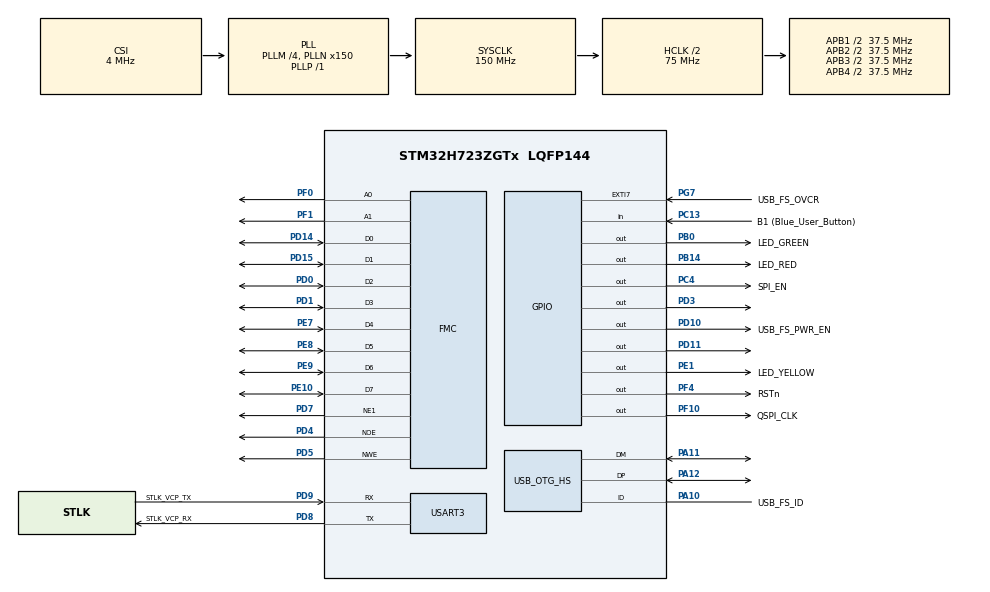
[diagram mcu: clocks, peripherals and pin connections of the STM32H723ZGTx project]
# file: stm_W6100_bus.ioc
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CORTEX_M7.AccessPermission-Cortex_Memory_Protection_Unit_Region0_Settings=MPU_REGION_FULL_ACCESS
CORTEX_M7.BaseAddress-Cortex_Memory_Protection_Unit_Region0_Settings=0x60000000
CORTEX_M7.CPU_DCache=Enabled
CORTEX_M7.CPU_ICache=Disabled
CORTEX_M7.Enable-Cortex_Memory_Protection_Unit_Region0_Settings=MPU_REGION_ENABLE
CORTEX_M7.Enable-Cortex_Memory_Protection_Unit_Region1_Settings=__NULL
CORTEX_M7.MPU_Control=MPU_HFNMI_PRIVDEF
CORTEX_M7.Size-Cortex_Memory_Protection_Unit_Region0_Settings=MPU_REGION_SIZE_64KB
FMC.AddressSetupTime1=2
FMC.BusTurnAroundDuration1=1
FMC.DataSetupTime1=1
FMC.ExtendedMode1=FMC_EXTENDED_MODE_DISABLE
FMC.WriteFifo1=FMC_WRITE_FIFO_ENABLE
FMC.WriteOperation1=FMC_WRITE_OPERATION_ENABLE
Mcu.Family=STM32H7
Mcu.Name=STM32H723ZGTx
Mcu.Package=LQFP144
NVIC.PriorityGroup=NVIC_PRIORITYGROUP_4
NVIC.USART3_IRQn=true\:0\:0\:false\:false\:true\:true\:true\:true
PA10.GPIO_Label=USB_FS_ID
PA10.Mode=OTG/Dual-Role-Device-FS
PA10.Signal=USB_OTG_HS_ID
PA11.Mode=OTG/Dual-Role-Device-FS
PA11.Signal=USB_OTG_HS_DM
PA12.Mode=OTG/Dual-Role-Device-FS
PA12.Signal=USB_OTG_HS_DP
PA13(JTMS/SWDIO).GPIO_Label=SWDIO
PA13(JTMS/SWDIO).Mode=Trace_Asynchronous_SW
PA13(JTMS/SWDIO).Signal=DEBUG_JTMS-SWDIO
PA14(JTCK/SWCLK).GPIO_Label=SWCLK
PA14(JTCK/SWCLK).Mode=Trace_Asynchronous_SW
PA14(JTCK/SWCLK).Signal=DEBUG_JTCK-SWCLK
PB0.GPIO_Label=LED_GREEN
PB0.Signal=GPIO_Output
PB14.GPIO_Label=LED_RED
PB14.Signal=GPIO_Output
PB3(JTDO/TRACESWO).GPIO_Label=SWO
PB3(JTDO/TRACESWO).Mode=Trace_Asynchronous_SW
PB3(JTDO/TRACESWO).Signal=DEBUG_JTDO-SWO
PC13.GPIO_Label=B1 (Blue_User_Button)
PC13.Signal=GPIO_Input
PC14-OSC32_IN.Mode=LSE-External-Oscillator
PC14-OSC32_IN.Signal=RCC_OSC32_IN
PC15-OSC32_OUT.Mode=LSE-External-Oscillator
PC15-OSC32_OUT.Signal=RCC_OSC32_OUT
PC4.GPIO_Label=SPI_EN
PC4.Signal=GPIO_Output
PD0.Signal=FMC_D2_DA2
PD1.Signal=FMC_D3_DA3
PD10.GPIO_Label=USB_FS_PWR_EN
PD10.Signal=GPIO_Output
PD11.Signal=GPIO_Output
PD14.Signal=FMC_D0_DA0
PD15.Signal=FMC_D1_DA1
PD3.Signal=GPIO_Output
PD4.Signal=FMC_NOE
PD5.Signal=FMC_NWE
PD7.Mode=NorPsramChipSelect1_1
PD7.Signal=FMC_NE1
PD8.GPIO_Label=STLK_VCP_RX
PD8.Mode=Asynchronous
PD8.Signal=USART3_TX
PD9.GPIO_Label=STLK_VCP_TX
PD9.Mode=Asynchronous
PD9.Signal=USART3_RX
PE1.GPIO_Label=LED_YELLOW
PE1.Signal=GPIO_Output
PE10.Signal=FMC_D7_DA7
PE7.Signal=FMC_D4_DA4
PE8.Signal=FMC_D5_DA5
PE9.Signal=FMC_D6_DA6
PF0.Signal=FMC_A0
PF1.Signal=FMC_A1
PF10.GPIO_Label=QSPI_CLK
PF10.Signal=GPIO_Output
PF4.GPIO_Label=RSTn
PF4.Signal=GPIO_Output
PG7.GPIO_Label=USB_FS_OVCR
PG7.Signal=GPXTI7
ProjectManager.HeapSize=0x200
ProjectManager.StackSize=0x400
ProjectManager.TargetToolchain=STM32CubeIDE
RCC.ADCFreq_Value=150000000
RCC.APB1Freq_Value=37500000
RCC.APB2Freq_Value=37500000
RCC.APB3Freq_Value=37500000
RCC.APB4Freq_Value=37500000
RCC.CortexFreq_Value=150000000
RCC.D1PPRE=RCC_APB3_DIV2
RCC.D2PPRE1=RCC_APB1_DIV2
RCC.D2PPRE2=RCC_APB2_DIV2
RCC.D3PPRE=RCC_APB4_DIV2
RCC.DIVM1=4
RCC.DIVM2=2
RCC.DIVN1=150
RCC.DIVN2=150
RCC.DIVP1=1
RCC.DIVQ1=30
RCC.DIVQ2=40
RCC.DIVR2=10
RCC.FMCCLockSelection=RCC_FMCCLKSOURCE_PLL2
RCC.HCLKFreq_Value=75000000
RCC.HPRE=RCC_HCLK_DIV2
RCC.HSE_VALUE=8000000
RCC.PLLSourceVirtual=RCC_PLLSOURCE_CSI
RCC.PREFETCH_ENABLE=1
RCC.SYSCLKFreq_VALUE=150000000
RCC.SYSCLKSource=RCC_SYSCLKSOURCE_PLLCLK
RCC.USART234578CLockSelection=RCC_USART234578CLKSOURCE_PLL2
RCC.USBCLockSelection=RCC_USBCLKSOURCE_HSI48
RCC.USBFreq_Value=48000000
SH.FMC_A0.0=FMC_A0,2b-a1
SH.FMC_A1.0=FMC_A1,2b-a1
SH.FMC_D0_DA0.0=FMC_D0,8b-d1
SH.FMC_D1_DA1.0=FMC_D1,8b-d1
SH.FMC_D2_DA2.0=FMC_D2,8b-d1
SH.FMC_D3_DA3.0=FMC_D3,8b-d1
SH.FMC_D4_DA4.0=FMC_D4,8b-d1
SH.FMC_D5_DA5.0=FMC_D5,8b-d1
SH.FMC_D6_DA6.0=FMC_D6,8b-d1
SH.FMC_D7_DA7.0=FMC_D7,8b-d1
SH.FMC_NOE.0=FMC_NOE,NorFlash1
SH.FMC_NWE.0=FMC_NWE,NorFlash1
USART3.VirtualMode-Asynchronous=VM_ASYNC
VP_DMA2D_VS_DMA2D.Mode=DMA2D_Activate
VP_RCC_USB.Mode=USB_HS
board=NUCLEO-H723ZG

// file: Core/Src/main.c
/* USER CODE BEGIN Header */
/**
  ******************************************************************************
  * @file           : main.c
  * @brief          : Main program body
  ******************************************************************************
  * @attention
  *
  * <h2><center>&copy; Copyright (c) 2021 STMicroelectronics.
  * All rights reserved.</center></h2>
  *
  * This software component is licensed by ST under BSD 3-Clause license,
  * the "License"; You may not use this file except in compliance with the
  * License. You may obtain a copy of the License at:
  *                        opensource.org/licenses/BSD-3-Clause
  *
  ******************************************************************************
  */
/* USER CODE END Header */
#include "main.h"

/* USER CODE BEGIN Includes */
#include "stdio.h"
#include "w6100.h"
#include "wizchip_conf.h"

/* USER CODE END Includes */

/* USER CODE BEGIN PTD */
#define True_STD //KEIL ,True_STD
#define DATA_BUF_SIZE 512
//#define BUS_DMA
/* USER CODE END PTD */

/* USER CODE BEGIN PM */
wiz_NetInfo gWIZNETINFO = { .mac = {0x00,0x08,0xdc,0x34,0x56,0x78},
							  .ip = {192,168,15,111},
							  .sn = {255, 255, 255, 0},
							  .gw = {192, 168, 15, 1},
							  .dns = {168, 126, 63, 1},
							  //.dhcp = NETINFO_STATIC,
							  .lla={0xfe,0x80,0x00,0x00,
									  0x00,0x00, 0x00,0x00,
									  0x02,0x08, 0xdc,0xff,
									  0xfe,0x57, 0x57,0x25},   ///< Source Link Local Address
							  .gua={0x00, 0x00, 0x00, 0x00,
									  0x00, 0x00, 0x00, 0x00,
									  0x00, 0x00, 0x00, 0x00,
									  0x00, 0x00, 0x00, 0x00},	 ///< Source Global Unicast Address
							  .sn6={0xff,0xff,0xff,0xff,
									  0xff,0xff,0xff,0xff,
									  0x00, 0x00, 0x00, 0x00,
									  0x00, 0x00, 0x00, 0x00 },   ///< IPv6 Prefix
							  .gw6={0x00, 0x00, 0x00, 0x00,
									  0x00, 0x00, 0x00, 0x00,
									  0x00, 0x00, 0x00, 0x00,
									  0x00, 0x00, 0x00, 0x00}	///< Gateway IPv6 Address
  };

  uint8_t WIZ_Dest_IP_virtual[4] = {192, 168, 0, 230};					//DST_IP Address
  uint8_t WIZ_Dest_IP_Google[4] = {216, 58, 200, 174};				//DST_IP Address

  uint8_t mcastipv4_0[4] ={239,1,2,3};
  uint8_t mcastipv4_1[4] ={239,1,2,4};
  uint8_t mcastipv4_2[4] ={239,1,2,5};
  uint8_t mcastipv4_3[4] ={239,1,2,6};

  uint16_t WIZ_Dest_PORT = 15000;								  //DST_IP port

#define ETH_MAX_BUF_SIZE	1024

  uint8_t  remote_ip[4] = {192,168,177,200};					  //
  uint16_t remote_port = 8080;

  unsigned char ethBuf0[ETH_MAX_BUF_SIZE];
  unsigned char ethBuf1[ETH_MAX_BUF_SIZE];
  unsigned char ethBuf2[ETH_MAX_BUF_SIZE];
  unsigned char ethBuf3[ETH_MAX_BUF_SIZE];
  unsigned char ethBuf4[ETH_MAX_BUF_SIZE];
  unsigned char ethBuf5[ETH_MAX_BUF_SIZE];
  unsigned char ethBuf6[ETH_MAX_BUF_SIZE];
  unsigned char ethBuf7[ETH_MAX_BUF_SIZE];

  uint8_t bLoopback = 1;
  uint8_t bRandomPacket = 0;
  uint8_t bAnyPacket = 0;
  uint16_t pack_size = 0;

  void print_network_information(void);

#define SRAM_BANK_ADDR  ((uint32_t)0x60000000)
#define BUFFER_SIZE         ((uint32_t)0x0002)
#define WRITE_READ_ADDR     ((uint32_t)0x0000)
uint32_t aTxBuffer[BUFFER_SIZE];
uint32_t aRxBuffer[BUFFER_SIZE];

static void Fill_Buffer(uint32_t *pBuffer, uint32_t uwBufferLength, uint16_t uwOffset)
{
  uint16_t tmpIndex = 0;

  /* Put in global buffer different values */
  for (tmpIndex = 0; tmpIndex < uwBufferLength; tmpIndex++)
  {
    pBuffer[tmpIndex] = tmpIndex + uwOffset;
  }
}

/* USER CODE END PM */

DMA2D_HandleTypeDef hdma2d;

UART_HandleTypeDef huart3;

NOR_HandleTypeDef hnor1;

/* USER CODE BEGIN PV */
uint8_t URX_BUF[DATA_BUF_SIZE];
unsigned int URX_BUF_cnt = 0;
unsigned int URX_BUF_Flag = 0;
uint8_t rxData;

/* USER CODE END PV */

void SystemClock_Config(void);
void PeriphCommonClock_Config(void);
static void MPU_Initialize(void);
static void MPU_Config(void);
static void MX_GPIO_Init(void);
static void MX_USART3_UART_Init(void);
static void MX_USB_OTG_HS_USB_Init(void);
static void MX_FMC_Init(void);
static void MX_DMA2D_Init(void);
/* USER CODE BEGIN PFP */
#ifdef KEIL
      #ifdef __GNUC__
      //With GCC, small printf (option LD Linker->Libraries->Small printf
      //set to 'Yes') calls __io_putchar()
         #define PUTCHAR_PROTOTYPE int __io_putchar(int ch)
	  #else
		 #define PUTCHAR_PROTOTYPE int fputc(int ch, FILE *f)
	  #endif /* __GNUC__*/
    #if 1
    PUTCHAR_PROTOTYPE
    {
      HAL_UART_Transmit(&huart3, (uint8_t *)&ch, 1, 0xFFFF);
      return ch;
    }
    #endif
  #endif

  #ifdef True_STD
  int _write(int fd, char *str, int len)
  {
    for(int i=0; i<len; i++)
    {
      HAL_UART_Transmit(&huart3, (uint8_t *)&str[i], 1, 0xFFFF);
    }
    return len;
  }
 #endif

/* USER CODE END PFP */

/* USER CODE BEGIN 0 */
void HAL_UART_RxCpltCallback(UART_HandleTypeDef *huart) {

	 /*
		 This will be called once data is received successfully,
		 via interrupts.
	 */

	  /*
		loop back received data
	  */
	  HAL_UART_Receive_IT(&huart3, &rxData, 1);
	  HAL_UART_Transmit(&huart3, &rxData, 1, 1000);
	  //massage input end enter key flag
	  URX_BUF[URX_BUF_cnt++] = rxData;
	  if((rxData == '\r') ||(URX_BUF_cnt > DATA_BUF_SIZE))
	  {
		URX_BUF_Flag = 1;
	  }
 }

void chip_delay(uint16_t count)
{
	uint16_t i = 0, dummy =0;
	for(i=0; i<count; i++)
	{
		dummy = i;
	}
}
uint16_t g_delay_count = 2;
void W6100BusWriteByte(uint32_t addr, iodata_t data)
{
	#if 1	//teddy 210422
	//(*(volatile uint8_t*)(addr)) = (uint8_t)(data);
	//__HAL_LOCK(&hnor1);
	(*(__IO uint8_t *)((uint32_t)(addr)) = (data));
	//chip_delay(g_delay_count);
	//__HAL_UNLOCK(&hnor1);
	#else
	iodata_t Indata[2]={0, 0};
	Indata[0] = data;
	//printf("W%x:%x ",addr, data);
	if(HAL_SRAM_Write_8b(&hsram1, (uint32_t *)addr, (uint16_t *)data, 1) != HAL_OK)
		printf("BusWritError \r\n");
	#endif
}

iodata_t W6100BusReadByte(uint32_t addr)
{
	#if 1	//teddy 210422
	//return (*((volatile uint8_t*)(addr)));
	iodata_t ret=0;
	//__HAL_LOCK(&hnor1);
	//ret = *(__IO uint8_t *)((uint32_t)(addr));
	ret = *(__IO uint8_t *)(addr);
	//chip_delay(g_delay_count);
	//__HAL_UNLOCK(&hnor1);
	return ret;
	#else
	iodata_t result[2] = {0,0};
	if(HAL_SRAM_Read_8b(&hsram1, (uint32_t *)addr, (uint16_t *)result, 1) != HAL_OK)
		printf("BussReadError \r\n");
	printf("R%x:%x ", addr, result[0]);
	return result[0];
	#endif
}

void W6100BusWriteBurst(uint32_t addr, uint8_t* pBuf ,uint32_t len,uint8_t addr_inc)
{
#ifdef USE_STDPERIPH_DRIVER

	if(addr_inc){
	 	DMA_TX_InitStructure.DMA_MemoryInc  = DMA_MemoryInc_Enable;

	}
	else 	DMA_TX_InitStructure.DMA_MemoryInc  = DMA_MemoryInc_Disable;

	DMA_TX_InitStructure.DMA_BufferSize = len;
	DMA_TX_InitStructure.DMA_MemoryBaseAddr = addr;
	DMA_TX_InitStructure.DMA_PeripheralBaseAddr = pBuf;

	DMA_Init(W6100_DMA_CHANNEL_TX, &DMA_TX_InitStructure);

	DMA_Cmd(W6100_DMA_CHANNEL_TX, ENABLE);

	/* Enable SPI Rx/Tx DMA Request*/

	/* Waiting for the end of Data Transfer */
	while(DMA_GetFlagStatus(DMA_TX_FLAG) == RESET);

	DMA_ClearFlag(DMA_TX_FLAG);

	DMA_Cmd(W6100_DMA_CHANNEL_TX, DISABLE);

#elif defined USE_HAL_DRIVER

#endif
#if 0
	if(HAL_SRAM_Write_8b(&hsram1, (uint32_t *)addr, pBuf, len) != HAL_OK)
		printf("BusWritError \r\n");
#endif

}

void W6100BusReadBurst(uint32_t addr,uint8_t* pBuf, uint32_t len,uint8_t addr_inc)
{
#ifdef USE_STDPERIPH_DRIVER

	DMA_RX_InitStructure.DMA_BufferSize = len;
	DMA_RX_InitStructure.DMA_MemoryBaseAddr =pBuf;
	DMA_RX_InitStructure.DMA_PeripheralBaseAddr =addr;

	DMA_Init(W6100_DMA_CHANNEL_RX, &DMA_RX_InitStructure);

	DMA_Cmd(W6100_DMA_CHANNEL_RX, ENABLE);
	/* Waiting for the end of Data Transfer */
	while(DMA_GetFlagStatus(DMA_RX_FLAG) == RESET);

	DMA_ClearFlag(DMA_RX_FLAG);

	DMA_Cmd(W6100_DMA_CHANNEL_RX, DISABLE);

#elif defined USE_HAL_DRIVER

#endif
#if 0
	if(HAL_SRAM_Read_8b(&hsram1, (uint32_t *)addr, pBuf, len) != HAL_OK)
			printf("BussReadError \r\n");
#endif

}
void W6100CsEnable(void)
{
	__HAL_LOCK(&hnor1);
#if 0
	__HAL_LOCK(&hsram1);
	hsram1.State = HAL_SRAM_STATE_BUSY;
#endif
}

void W6100CsDisable(void)
{
	__HAL_UNLOCK(&hnor1);
#if 0
	__HAL_UNLOCK(&hsram1);
	hsram1.State = HAL_SRAM_STATE_READY;
#endif
}

void W6100Initialze(void)
{
		//W6100Reset();

#if _WIZCHIP_IO_MODE_ & _WIZCHIP_IO_MODE_SPI_
	/* SPI method callback registration */
	#if defined SPI_DMA
		reg_wizchip_spi_cbfunc(W6100SpiReadByte, W6100SpiWriteByte, W6100SpiReadBurst, W6100SpiWriteBurst);
	#else
		reg_wizchip_spi_cbfunc(W6100SpiReadByte, W6100SpiWriteByte, 0, 0);
	#endif
		/* CS function register */
		reg_wizchip_cs_cbfunc(W6100CsEnable, W6100CsDisable);
#else
	/* Indirect bus method callback registration */
	#if defined BUS_DMA
		reg_wizchip_bus_cbfunc(W6100BusReadByte, W6100BusWriteByte, W6100BusReadBurst, W6100BusWriteBurst);
	#else
		reg_wizchip_bus_cbfunc(W6100BusReadByte, W6100BusWriteByte, 0, 0);
	#endif
		reg_wizchip_cs_cbfunc(W6100CsEnable, W6100CsDisable);
#endif
		uint8_t temp;
		unsigned char W6100_AdrSet[2][8] = {{2, 2, 2, 2, 2, 2, 2, 2}, {2, 2, 2, 2, 2, 2, 2, 2}};
		uint16_t RegTemp = 0;
		//RegTemp = (uint16_t)WIZCHIP_READ(_CIDR_);
		//printf("CIDR_ = %04x \r\n", RegTemp);
		RegTemp = getCIDR();
		printf("CIDR = %04x \r\n", RegTemp);
		RegTemp = getVER();
		printf("VER = %04x \r\n", RegTemp);

		#if 0 //teddy st
		do
		{
			if (ctlwizchip(CW_GET_PHYLINK, (void *)&temp) == -1)
			{
				printf("Unknown PHY link status.\r\n");
			}
		} while (temp == PHY_LINK_OFF);
	 	#endif

		printf("PHY OK.\r\n");

}
void bus_tx_mem_test(uint8_t sn)
{
	uint16_t i=0, temp_count = 1;
	uint8_t temp_rx_data[1024], temp_tx_data[1024];
	uint16_t data_len =1024;
	for(i=0; i<data_len; i++)
	  {
		  temp_tx_data[i] = '0'+(uint8_t)(i%10);
	  }
	  temp_tx_data[data_len] = 0;
	  printf("socket = %d \r\nbus tx data[%d] = %s\r\n", sn, data_len, temp_tx_data);
	  *(__IO uint8_t *)((uint32_t)(0x60000000)) = (uint8_t)(0x00);
		//chip_delay(temp_count);
		*(__IO uint8_t *)((uint32_t)(0x60000001)) = (uint8_t)(0x00);
		//chip_delay(temp_count);
		*(__IO uint8_t *)((uint32_t)(0x60000002)) = (uint8_t)((0x10)|(sn<<5));
		//chip_delay(temp_count);
		for(i=0; i<data_len; i++)
		{
			*(__IO uint8_t *)((uint32_t)(0x60000003)) = (uint8_t)(temp_tx_data[i]);
			//chip_delay(temp_count);
		}
		printf("bus read tx data \r\n");
		*(__IO uint8_t *)((uint32_t)(0x60000000)) = (uint8_t)(0x00);
		//chip_delay(temp_count);
		*(__IO uint8_t *)((uint32_t)(0x60000001)) = (uint8_t)(0x00);
		//chip_delay(temp_count);
		*(__IO uint8_t *)((uint32_t)(0x60000002)) = (uint8_t)((0x10)|(sn<<5));
		//chip_delay(temp_count);
		for(i=0; i<data_len; i++)
		{
			temp_rx_data[i] = *(__IO uint8_t *)((uint32_t)(0x60000003));
			//chip_delay(temp_count);
		}
		temp_rx_data[data_len] = 0;
		printf("bus tx mem read data[%d] = %s\r\n", data_len, temp_rx_data);
}

/* USER CODE END 0 */

int main(void)
{
  /* USER CODE BEGIN 1 */
  uint8_t temp1 = 0, temp2 = 0, *temp=NULL;
  uint8_t temp_data[4]={0,};
  //temp = (volatile uint8_t*)(0x60000003);
  uint8_t syslock = SYS_NET_LOCK;
  uint16_t temp_dummy=0;
  uint8_t temp_status[10]={0,};
  uint16_t temp_count = 1000;

  /* USER CODE END 1 */

  /* Enable D-Cache---------------------------------------------------------*/
  SCB_EnableDCache();

  /* MCU Configuration--------------------------------------------------------*/

  /* Reset of all peripherals, Initializes the Flash interface and the Systick. */
  HAL_Init();

  /* MPU Configuration--------------------------------------------------------*/
  MPU_Config();

  /* USER CODE BEGIN Init */
  hnor1.CommandSet = (uint16_t)0x0001;
  /* USER CODE END Init */

  /* Configure the system clock */
  SystemClock_Config();

/* Configure the peripherals common clocks */
  PeriphCommonClock_Config();

  /* Initialize all configured peripherals */
  MX_GPIO_Init();
  MX_USART3_UART_Init();
  MX_USB_OTG_HS_USB_Init();
  MX_FMC_Init();
  MX_DMA2D_Init();
  /* USER CODE BEGIN 2 */
  HAL_GPIO_WritePin(GPIOD, GPIO_PIN_11|GPIO_PIN_3, GPIO_PIN_SET);
  HAL_Delay(100);
  HAL_GPIO_WritePin(GPIOD, GPIO_PIN_11, GPIO_PIN_RESET);
  HAL_GPIO_WritePin(RSTn_GPIO_Port, RSTn_Pin, GPIO_PIN_RESET);
  HAL_Delay(500);
  HAL_GPIO_WritePin(GPIOD, GPIO_PIN_11, GPIO_PIN_SET);
  HAL_GPIO_WritePin(RSTn_GPIO_Port, RSTn_Pin, GPIO_PIN_SET);
  HAL_Delay(500);
  HAL_GPIO_WritePin(SPI_EN_GPIO_Port, SPI_EN_Pin, GPIO_PIN_SET);
  HAL_GPIO_WritePin(QSPI_CLK_GPIO_Port, QSPI_CLK_Pin, GPIO_PIN_SET);
  HAL_Delay(500);

printf("Hello Start!!\r\n");
  Fill_Buffer(aTxBuffer, BUFFER_SIZE, 0x0000);
  //HAL_SRAM_Write_16b(&hsram1, (uint32_t *)(SRAM_BANK_ADDR + WRITE_READ_ADDR), (uint16_t *)aTxBuffer, BUFFER_SIZE*2);
  //HAL_SRAM_Write_8b(&hsram1, (uint32_t *)(SRAM_BANK_ADDR + WRITE_READ_ADDR), (uint8_t *)aTxBuffer, BUFFER_SIZE);
  printf("Hello Start!!\r\n");
#if 0
  //(*(volatile uint8_t*)(0x60000000)) = (uint8_t)(0x00);
  (*(volatile uint8_t*)(0x60000001)) = (uint8_t)(0x02);
  //(*(volatile uint8_t*)(0x60000002)) = (uint8_t)(0x00);
  temp1 = (*(volatile uint8_t*)(0x60000003));

  //(*(volatile uint8_t*)(0x60000000)) = (uint8_t)(0x00);
  (*(volatile uint8_t*)(0x60000001)) = (uint8_t)(0x03);
  //(*(volatile uint8_t*)(0x60000002)) = (uint8_t)(0x00);
  temp2 = (*(volatile uint8_t*)(0x60000003));
#endif
  //(*(volatile uint8_t*)(0x60000000)) = 0x00;

  //__HAL_LOCK(&hsram1);
	//  hsram1.State = HAL_SRAM_STATE_BUSY;

	//(*(volatile uint32_t*)(0x60000000)) = (0x00<<16)|(0x02<<8)|(0x00);
  	 //__HAL_LOCK(&hnor1);
  //temp_data[0] = (uint8_t)(*(__IO uint8_t *)(0x60000000));
  //*(__IO uint8_t *)((uint32_t)(0x60000000)) = (uint8_t)(0x00);
  temp_count = 2;
  *(__IO uint8_t *)((uint32_t)(0x60000000)) = (uint8_t)(0x00);
  //chip_delay(temp_count);
  *(__IO uint8_t *)((uint32_t)(0x60000001)) = (uint8_t)(0x00);
  //chip_delay(temp_count);
  *(__IO uint8_t *)((uint32_t)(0x60000002)) = (uint8_t)(0x00);
  //chip_delay(temp_count);

  temp_data[0] = (uint8_t)(*(__IO uint8_t *)(0x60000003));
  //chip_delay(temp_count);
  temp_data[1] = (uint8_t)(*(__IO uint8_t *)(0x60000003));
  //chip_delay(temp_count);
  temp_data[2] = (uint8_t)(*(__IO uint8_t *)(0x60000003));
  //chip_delay(temp_count);
  temp_data[3] = (uint8_t)(*(__IO uint8_t *)(0x60000003));
  printf("CIDR VER = 0x%02x %02x %02x %02x\r\n", temp_data[0], temp_data[1], temp_data[2], temp_data[3]);

  	chip_delay(temp_count);
  	chip_delay(temp_count);
	(*(volatile uint8_t*)(0x60000000)) = (uint8_t)(0x00);
	//chip_delay(temp_count);
    (*(volatile uint8_t*)(0x60000001)) = (uint8_t)(0x02);
    //chip_delay(temp_count);
    (*(volatile uint8_t*)(0x60000002)) = (uint8_t)(0x00);
    //chip_delay(temp_count);
    temp1 = (*(volatile uint8_t*)(0x60000003));
    //chip_delay(temp_count);
    (*(volatile uint8_t*)(0x60000000)) = (uint8_t)(0x00);
    //chip_delay(temp_count);
    (*(volatile uint8_t*)(0x60000001)) = (uint8_t)(0x03);
    //chip_delay(temp_count);
    (*(volatile uint8_t*)(0x60000002)) = (uint8_t)(0x00);
    //chip_delay(temp_count);
    temp2 = (*(volatile uint8_t*)(0x60000003));
    //chip_delay(temp_count);
  printf("bin VER = 0x%02x %02x \r\n", temp1, temp2);

  //tx memory W/R
  bus_tx_mem_test(0);

  W6100Initialze();
#if 0
  (*(volatile uint8_t*)(0x60000000)) = (uint8_t)(0x41);
  (*(volatile uint8_t*)(0x60000001)) = (uint8_t)(0x20);
  (*(volatile uint8_t*)(0x60000002)) = (uint8_t)(0x00);
  (*(volatile uint8_t*)(0x60000003)) = (uint8_t)(0x00);
  (*(volatile uint8_t*)(0x60000003)) = (uint8_t)(0x08);
  (*(volatile uint8_t*)(0x60000003)) = (uint8_t)(0xdc);
  (*(volatile uint8_t*)(0x60000003)) = (uint8_t)(0xff);
  (*(volatile uint8_t*)(0x60000003)) = (uint8_t)(0xff);
  (*(volatile uint8_t*)(0x60000003)) = (uint8_t)(0xff);
  setSHAR(gWIZNETINFO.mac);
#endif
  ctlwizchip(CW_SYS_UNLOCK,& syslock);
  ctlnetwork(CN_SET_NETINFO,&gWIZNETINFO);
  printf("Register value after W6100 initialize!\r\n");
  print_network_information();
  /* USER CODE END 2 */

  /* Infinite loop */
  while (1)
  {

    /* USER CODE BEGIN 3 */
	  loopback_tcps(0,ethBuf3,50003,AS_IPV4);
  }
  /* USER CODE END 3 */
}

void SystemClock_Config(void)
{
  RCC_OscInitTypeDef RCC_OscInitStruct = {0};
  RCC_ClkInitTypeDef RCC_ClkInitStruct = {0};
  RCC_CRSInitTypeDef RCC_CRSInitStruct = {0};

  /** Supply configuration update enable
  */
  HAL_PWREx_ConfigSupply(PWR_LDO_SUPPLY);

  /** Configure the main internal regulator output voltage
  */
  __HAL_PWR_VOLTAGESCALING_CONFIG(PWR_REGULATOR_VOLTAGE_SCALE3);

  while(!__HAL_PWR_GET_FLAG(PWR_FLAG_VOSRDY)) {}

  /** Initializes the RCC Oscillators according to the specified parameters
  * in the RCC_OscInitTypeDef structure.
  */
  RCC_OscInitStruct.OscillatorType = RCC_OSCILLATORTYPE_HSI48|RCC_OSCILLATORTYPE_CSI;
  RCC_OscInitStruct.HSI48State = RCC_HSI48_ON;
  RCC_OscInitStruct.CSIState = RCC_CSI_ON;
  RCC_OscInitStruct.CSICalibrationValue = 16;
  RCC_OscInitStruct.PLL.PLLState = RCC_PLL_ON;
  RCC_OscInitStruct.PLL.PLLSource = RCC_PLLSOURCE_CSI;
  RCC_OscInitStruct.PLL.PLLM = 4;
  RCC_OscInitStruct.PLL.PLLN = 150;
  RCC_OscInitStruct.PLL.PLLP = 1;
  RCC_OscInitStruct.PLL.PLLQ = 30;
  RCC_OscInitStruct.PLL.PLLR = 2;
  RCC_OscInitStruct.PLL.PLLRGE = RCC_PLL1VCIRANGE_0;
  RCC_OscInitStruct.PLL.PLLVCOSEL = RCC_PLL1VCOMEDIUM;
  RCC_OscInitStruct.PLL.PLLFRACN = 0;
  if (HAL_RCC_OscConfig(&RCC_OscInitStruct) != HAL_OK)
  {
    Error_Handler();
  }

  /** Initializes the CPU, AHB and APB buses clocks
  */
  RCC_ClkInitStruct.ClockType = RCC_CLOCKTYPE_HCLK|RCC_CLOCKTYPE_SYSCLK
                              |RCC_CLOCKTYPE_PCLK1|RCC_CLOCKTYPE_PCLK2
                              |RCC_CLOCKTYPE_D3PCLK1|RCC_CLOCKTYPE_D1PCLK1;
  RCC_ClkInitStruct.SYSCLKSource = RCC_SYSCLKSOURCE_PLLCLK;
  RCC_ClkInitStruct.SYSCLKDivider = RCC_SYSCLK_DIV1;
  RCC_ClkInitStruct.AHBCLKDivider = RCC_HCLK_DIV2;
  RCC_ClkInitStruct.APB3CLKDivider = RCC_APB3_DIV2;
  RCC_ClkInitStruct.APB1CLKDivider = RCC_APB1_DIV2;
  RCC_ClkInitStruct.APB2CLKDivider = RCC_APB2_DIV2;
  RCC_ClkInitStruct.APB4CLKDivider = RCC_APB4_DIV2;

  if (HAL_RCC_ClockConfig(&RCC_ClkInitStruct, FLASH_LATENCY_2) != HAL_OK)
  {
    Error_Handler();
  }

  /** Enable the SYSCFG APB clock
  */
  __HAL_RCC_CRS_CLK_ENABLE();

  /** Configures CRS
  */
  RCC_CRSInitStruct.Prescaler = RCC_CRS_SYNC_DIV1;
  RCC_CRSInitStruct.Source = RCC_CRS_SYNC_SOURCE_USB2;
  RCC_CRSInitStruct.Polarity = RCC_CRS_SYNC_POLARITY_RISING;
  RCC_CRSInitStruct.ReloadValue = __HAL_RCC_CRS_RELOADVALUE_CALCULATE(48000000,1000);
  RCC_CRSInitStruct.ErrorLimitValue = 34;
  RCC_CRSInitStruct.HSI48CalibrationValue = 32;

  HAL_RCCEx_CRSConfig(&RCC_CRSInitStruct);
}

void PeriphCommonClock_Config(void)
{
  RCC_PeriphCLKInitTypeDef PeriphClkInitStruct = {0};

  /** Initializes the peripherals clock
  */
  PeriphClkInitStruct.PeriphClockSelection = RCC_PERIPHCLK_FMC|RCC_PERIPHCLK_USART3;
  PeriphClkInitStruct.PLL2.PLL2M = 2;
  PeriphClkInitStruct.PLL2.PLL2N = 150;
  PeriphClkInitStruct.PLL2.PLL2P = 2;
  PeriphClkInitStruct.PLL2.PLL2Q = 40;
  PeriphClkInitStruct.PLL2.PLL2R = 10;
  PeriphClkInitStruct.PLL2.PLL2RGE = RCC_PLL2VCIRANGE_1;
  PeriphClkInitStruct.PLL2.PLL2VCOSEL = RCC_PLL2VCOWIDE;
  PeriphClkInitStruct.PLL2.PLL2FRACN = 0;
  PeriphClkInitStruct.FmcClockSelection = RCC_FMCCLKSOURCE_PLL2;
  PeriphClkInitStruct.Usart234578ClockSelection = RCC_USART234578CLKSOURCE_PLL2;
  if (HAL_RCCEx_PeriphCLKConfig(&PeriphClkInitStruct) != HAL_OK)
  {
    Error_Handler();
  }
}

static void MX_DMA2D_Init(void)
{

  hdma2d.Instance = DMA2D;
  hdma2d.Init.Mode = DMA2D_M2M;
  hdma2d.Init.ColorMode = DMA2D_OUTPUT_ARGB8888;
  hdma2d.Init.OutputOffset = 0;
  hdma2d.LayerCfg[1].InputOffset = 0;
  hdma2d.LayerCfg[1].InputColorMode = DMA2D_INPUT_ARGB8888;
  hdma2d.LayerCfg[1].AlphaMode = DMA2D_NO_MODIF_ALPHA;
  hdma2d.LayerCfg[1].InputAlpha = 0;
  hdma2d.LayerCfg[1].AlphaInverted = DMA2D_REGULAR_ALPHA;
  hdma2d.LayerCfg[1].RedBlueSwap = DMA2D_RB_REGULAR;
  hdma2d.LayerCfg[1].ChromaSubSampling = DMA2D_NO_CSS;
  if (HAL_DMA2D_Init(&hdma2d) != HAL_OK)
  {
    Error_Handler();
  }
  if (HAL_DMA2D_ConfigLayer(&hdma2d, 1) != HAL_OK)
  {
    Error_Handler();
  }

}

static void MX_USART3_UART_Init(void)
{

  huart3.Instance = USART3;
  huart3.Init.BaudRate = 115200;
  huart3.Init.WordLength = UART_WORDLENGTH_8B;
  huart3.Init.StopBits = UART_STOPBITS_1;
  huart3.Init.Parity = UART_PARITY_NONE;
  huart3.Init.Mode = UART_MODE_TX_RX;
  huart3.Init.HwFlowCtl = UART_HWCONTROL_NONE;
  huart3.Init.OverSampling = UART_OVERSAMPLING_16;
  huart3.Init.OneBitSampling = UART_ONE_BIT_SAMPLE_DISABLE;
  huart3.Init.ClockPrescaler = UART_PRESCALER_DIV1;
  huart3.AdvancedInit.AdvFeatureInit = UART_ADVFEATURE_NO_INIT;
  if (HAL_UART_Init(&huart3) != HAL_OK)
  {
    Error_Handler();
  }
  if (HAL_UARTEx_SetTxFifoThreshold(&huart3, UART_TXFIFO_THRESHOLD_1_8) != HAL_OK)
  {
    Error_Handler();
  }
  if (HAL_UARTEx_SetRxFifoThreshold(&huart3, UART_RXFIFO_THRESHOLD_1_8) != HAL_OK)
  {
    Error_Handler();
  }
  if (HAL_UARTEx_DisableFifoMode(&huart3) != HAL_OK)
  {
    Error_Handler();
  }

}

static void MX_USB_OTG_HS_USB_Init(void)
{

}

/* FMC initialization function */
static void MX_FMC_Init(void)
{

  FMC_NORSRAM_TimingTypeDef Timing = {0};

  /* USER CODE BEGIN FMC_Init 1 */
  hnor1.CommandSet = (uint16_t)0x0001;
  /* USER CODE END FMC_Init 1 */

  /** Perform the NOR1 memory initialization sequence
  */
  hnor1.Instance = FMC_NORSRAM_DEVICE;
  hnor1.Extended = FMC_NORSRAM_EXTENDED_DEVICE;
  /* hnor1.Init */
  hnor1.Init.NSBank = FMC_NORSRAM_BANK1;
  hnor1.Init.DataAddressMux = FMC_DATA_ADDRESS_MUX_DISABLE;
  hnor1.Init.MemoryType = FMC_MEMORY_TYPE_NOR;
  hnor1.Init.MemoryDataWidth = FMC_NORSRAM_MEM_BUS_WIDTH_8;
  hnor1.Init.BurstAccessMode = FMC_BURST_ACCESS_MODE_DISABLE;
  hnor1.Init.WaitSignalPolarity = FMC_WAIT_SIGNAL_POLARITY_LOW;
  hnor1.Init.WaitSignalActive = FMC_WAIT_TIMING_BEFORE_WS;
  hnor1.Init.WriteOperation = FMC_WRITE_OPERATION_ENABLE;
  hnor1.Init.WaitSignal = FMC_WAIT_SIGNAL_DISABLE;
  hnor1.Init.ExtendedMode = FMC_EXTENDED_MODE_DISABLE;
  hnor1.Init.AsynchronousWait = FMC_ASYNCHRONOUS_WAIT_DISABLE;
  hnor1.Init.WriteBurst = FMC_WRITE_BURST_DISABLE;
  hnor1.Init.ContinuousClock = FMC_CONTINUOUS_CLOCK_SYNC_ONLY;
  hnor1.Init.WriteFifo = FMC_WRITE_FIFO_ENABLE;
  hnor1.Init.PageSize = FMC_PAGE_SIZE_NONE;
  /* Timing */
  Timing.AddressSetupTime = 1;
  Timing.AddressHoldTime = 15;
  Timing.DataSetupTime = 1;
  Timing.BusTurnAroundDuration = 1;
  Timing.CLKDivision = 16;
  Timing.DataLatency = 17;
  Timing.AccessMode = FMC_ACCESS_MODE_A;
  /* ExtTiming */

  if (HAL_NOR_Init(&hnor1, &Timing, NULL) != HAL_OK)
  {
    Error_Handler( );
  }

}

static void MX_GPIO_Init(void)
{
  GPIO_InitTypeDef GPIO_InitStruct = {0};

  /* GPIO Ports Clock Enable */
  __HAL_RCC_GPIOC_CLK_ENABLE();
  __HAL_RCC_GPIOF_CLK_ENABLE();
  __HAL_RCC_GPIOB_CLK_ENABLE();
  __HAL_RCC_GPIOE_CLK_ENABLE();
  __HAL_RCC_GPIOD_CLK_ENABLE();
  __HAL_RCC_GPIOG_CLK_ENABLE();
  __HAL_RCC_GPIOA_CLK_ENABLE();

  /*Configure GPIO pin Output Level */
  HAL_GPIO_WritePin(GPIOF, RSTn_Pin|QSPI_CLK_Pin, GPIO_PIN_RESET);

  /*Configure GPIO pin Output Level */
  HAL_GPIO_WritePin(SPI_EN_GPIO_Port, SPI_EN_Pin, GPIO_PIN_RESET);

  /*Configure GPIO pin Output Level */
  HAL_GPIO_WritePin(GPIOB, LED_GREEN_Pin|LED_RED_Pin, GPIO_PIN_RESET);

  /*Configure GPIO pin Output Level */
  HAL_GPIO_WritePin(GPIOD, USB_FS_PWR_EN_Pin|GPIO_PIN_11|GPIO_PIN_3, GPIO_PIN_RESET);

  /*Configure GPIO pin Output Level */
  HAL_GPIO_WritePin(LED_YELLOW_GPIO_Port, LED_YELLOW_Pin, GPIO_PIN_RESET);

  /*Configure GPIO pin : B1_Pin */
  GPIO_InitStruct.Pin = B1_Pin;
  GPIO_InitStruct.Mode = GPIO_MODE_INPUT;
  GPIO_InitStruct.Pull = GPIO_NOPULL;
  HAL_GPIO_Init(B1_GPIO_Port, &GPIO_InitStruct);

  /*Configure GPIO pins : RSTn_Pin QSPI_CLK_Pin */
  GPIO_InitStruct.Pin = RSTn_Pin|QSPI_CLK_Pin;
  GPIO_InitStruct.Mode = GPIO_MODE_OUTPUT_PP;
  GPIO_InitStruct.Pull = GPIO_NOPULL;
  GPIO_InitStruct.Speed = GPIO_SPEED_FREQ_LOW;
  HAL_GPIO_Init(GPIOF, &GPIO_InitStruct);

  /*Configure GPIO pin : SPI_EN_Pin */
  GPIO_InitStruct.Pin = SPI_EN_Pin;
  GPIO_InitStruct.Mode = GPIO_MODE_OUTPUT_PP;
  GPIO_InitStruct.Pull = GPIO_NOPULL;
  GPIO_InitStruct.Speed = GPIO_SPEED_FREQ_LOW;
  HAL_GPIO_Init(SPI_EN_GPIO_Port, &GPIO_InitStruct);

  /*Configure GPIO pins : LED_GREEN_Pin LED_RED_Pin */
  GPIO_InitStruct.Pin = LED_GREEN_Pin|LED_RED_Pin;
  GPIO_InitStruct.Mode = GPIO_MODE_OUTPUT_PP;
  GPIO_InitStruct.Pull = GPIO_NOPULL;
  GPIO_InitStruct.Speed = GPIO_SPEED_FREQ_LOW;
  HAL_GPIO_Init(GPIOB, &GPIO_InitStruct);

  /*Configure GPIO pins : USB_FS_PWR_EN_Pin PD11 PD3 */
  GPIO_InitStruct.Pin = USB_FS_PWR_EN_Pin|GPIO_PIN_11|GPIO_PIN_3;
  GPIO_InitStruct.Mode = GPIO_MODE_OUTPUT_PP;
  GPIO_InitStruct.Pull = GPIO_NOPULL;
  GPIO_InitStruct.Speed = GPIO_SPEED_FREQ_LOW;
  HAL_GPIO_Init(GPIOD, &GPIO_InitStruct);

  /*Configure GPIO pin : USB_FS_OVCR_Pin */
  GPIO_InitStruct.Pin = USB_FS_OVCR_Pin;
  GPIO_InitStruct.Mode = GPIO_MODE_IT_RISING;
  GPIO_InitStruct.Pull = GPIO_NOPULL;
  HAL_GPIO_Init(USB_FS_OVCR_GPIO_Port, &GPIO_InitStruct);

  /*Configure GPIO pin : USB_FS_ID_Pin */
  GPIO_InitStruct.Pin = USB_FS_ID_Pin;
  GPIO_InitStruct.Mode = GPIO_MODE_AF_PP;
  GPIO_InitStruct.Pull = GPIO_NOPULL;
  GPIO_InitStruct.Speed = GPIO_SPEED_FREQ_LOW;
  GPIO_InitStruct.Alternate = GPIO_AF10_OTG1_HS;
  HAL_GPIO_Init(USB_FS_ID_GPIO_Port, &GPIO_InitStruct);

  /*Configure GPIO pin : LED_YELLOW_Pin */
  GPIO_InitStruct.Pin = LED_YELLOW_Pin;
  GPIO_InitStruct.Mode = GPIO_MODE_OUTPUT_PP;
  GPIO_InitStruct.Pull = GPIO_NOPULL;
  GPIO_InitStruct.Speed = GPIO_SPEED_FREQ_LOW;
  HAL_GPIO_Init(LED_YELLOW_GPIO_Port, &GPIO_InitStruct);

}

/* USER CODE BEGIN 4 */
void print_network_information(void)
{
	wizchip_getnetinfo(&gWIZNETINFO);

	printf("Mac address: %02x:%02x:%02x:%02x:%02x:%02x\n\r",gWIZNETINFO.mac[0],gWIZNETINFO.mac[1],gWIZNETINFO.mac[2],gWIZNETINFO.mac[3],gWIZNETINFO.mac[4],gWIZNETINFO.mac[5]);
	printf("IP address : %d.%d.%d.%d\n\r",gWIZNETINFO.ip[0],gWIZNETINFO.ip[1],gWIZNETINFO.ip[2],gWIZNETINFO.ip[3]);
	printf("SM Mask    : %d.%d.%d.%d\n\r",gWIZNETINFO.sn[0],gWIZNETINFO.sn[1],gWIZNETINFO.sn[2],gWIZNETINFO.sn[3]);
	printf("Gate way   : %d.%d.%d.%d\n\r",gWIZNETINFO.gw[0],gWIZNETINFO.gw[1],gWIZNETINFO.gw[2],gWIZNETINFO.gw[3]);
	printf("DNS Server : %d.%d.%d.%d\n\r",gWIZNETINFO.dns[0],gWIZNETINFO.dns[1],gWIZNETINFO.dns[2],gWIZNETINFO.dns[3]);

	print_ipv6_addr("GW6 ", gWIZNETINFO.gw6);
	print_ipv6_addr("LLA ", gWIZNETINFO.lla);
	print_ipv6_addr("GUA ", gWIZNETINFO.gua);
	print_ipv6_addr("SUB6", gWIZNETINFO.sn6);

	printf("\r\nNETCFGLOCK : %x\r\n", getNETLCKR());
}

void print_ipv6_addr(uint8_t* name, uint8_t* ip6addr)
{
	printf("%s : ", name);
	printf("%04X:%04X", ((uint16_t)ip6addr[0] << 8) | ((uint16_t)ip6addr[1]), ((uint16_t)ip6addr[2] << 8) | ((uint16_t)ip6addr[3]));
	printf(":%04X:%04X", ((uint16_t)ip6addr[4] << 8) | ((uint16_t)ip6addr[5]), ((uint16_t)ip6addr[6] << 8) | ((uint16_t)ip6addr[7]));
	printf(":%04X:%04X", ((uint16_t)ip6addr[8] << 8) | ((uint16_t)ip6addr[9]), ((uint16_t)ip6addr[10] << 8) | ((uint16_t)ip6addr[11]));
	printf(":%04X:%04X\r\n", ((uint16_t)ip6addr[12] << 8) | ((uint16_t)ip6addr[13]), ((uint16_t)ip6addr[14] << 8) | ((uint16_t)ip6addr[15]));
}
/* USER CODE END 4 */

/* MPU Configuration */

void MPU_Config(void)
{
  MPU_Region_InitTypeDef MPU_InitStruct = {0};

  /* Disables the MPU */
  HAL_MPU_Disable();

  /** Initializes and configures the Region and the memory to be protected
  */
  MPU_InitStruct.Enable = MPU_REGION_ENABLE;
  MPU_InitStruct.Number = MPU_REGION_NUMBER0;
  MPU_InitStruct.BaseAddress = 0x60000000;
  MPU_InitStruct.Size = MPU_REGION_SIZE_64KB;
  MPU_InitStruct.SubRegionDisable = 0x0;
  MPU_InitStruct.TypeExtField = MPU_TEX_LEVEL0;
  MPU_InitStruct.AccessPermission = MPU_REGION_FULL_ACCESS;
  MPU_InitStruct.DisableExec = MPU_INSTRUCTION_ACCESS_DISABLE;
  MPU_InitStruct.IsShareable = MPU_ACCESS_NOT_SHAREABLE;
  MPU_InitStruct.IsCacheable = MPU_ACCESS_NOT_CACHEABLE;
  MPU_InitStruct.IsBufferable = MPU_ACCESS_NOT_BUFFERABLE;

  HAL_MPU_ConfigRegion(&MPU_InitStruct);
  /* Enables the MPU */
  HAL_MPU_Enable(MPU_HFNMI_PRIVDEF);

}

void Error_Handler(void)
{
  __disable_irq();
  while (1)
  {
  }
}
